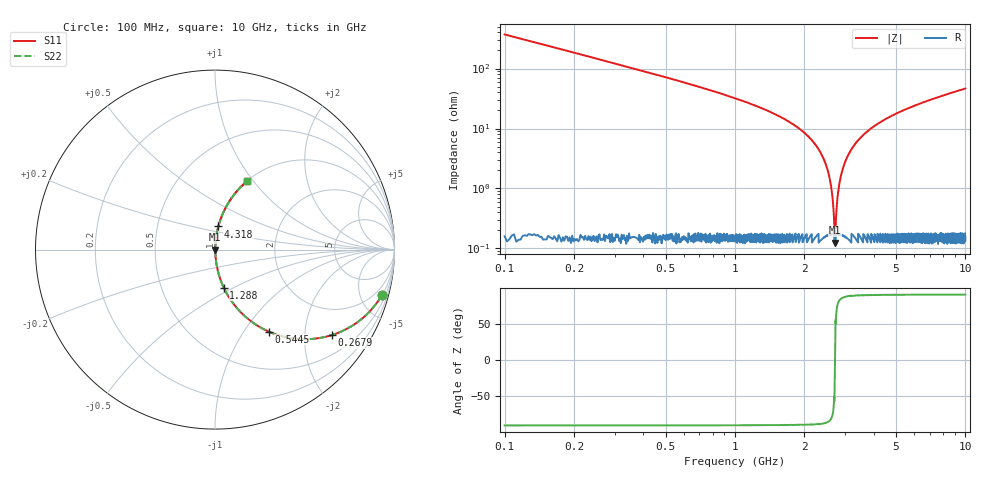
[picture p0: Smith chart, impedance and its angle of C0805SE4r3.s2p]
! AVX Thin Film Operation		Date: April 2012
! Description: Accu-P® Series, Thin Film, SMD, RF Capacitor
! Part Number: 08051J4R3ABTTR
!	100	MHz	-	10.05	GHz
!	Serial	Measurements
#	MHZ	S	MA	R	50
!	S11	S21	S12	S22
!	dB	Phase	dB	Phase	dB	Phase	dB	Phase
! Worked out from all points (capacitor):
!   4010 points, 100 MHz to 10 GHz, reference 50 ohm
!   read as one part in series: C = 4.3 pF near 149.4 MHz
!   lowest |Z| = 125 mohm at 2.718 GHz (marker M1)
!   series resonance near 2.717 GHz, so ESL is about 800 pH
!   S11 on the Smith chart (normalised r, x): 100 MHz: 1.01, -7.39; 267.9 MHz: 1.00, -2.74; 544.5 MHz: 1.00, -1.31; 1.288 GHz: 1.00, -0.45; 4.318 GHz: 1.00, +0.26; 10 GHz: 1.00, +0.93
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100  0.965 -15.1  0.261 74.8  0.261 74.8  0.965 -15.1
267.922  0.807 -36.1  0.59 53.8  0.59 53.8  0.807 -36.1
544.5  0.546 -56.8  0.837 33.1  0.837 33.1  0.546 -56.8
843.303  0.368 -68.2  0.928 21.6  0.928 21.6  0.368 -68.2
1287.802  0.217 -77.1  0.975 12.5  0.975 12.5  0.217 -77.1
1752.058  0.122 -82.3  0.991 7.0  0.991 7.0  0.122 -82.3
2166.924  0.062 -85.1  0.997 3.6  0.997 3.6  0.062 -85.1
2441.033  0.029 -85.4  0.998 1.7  0.998 1.7  0.029 -85.4
2591.669  0.013 -82.6  0.998 0.7  0.998 0.7  0.013 -82.6
2638.588  0.00808 -78.9  0.998 0.5  0.998 0.5  0.00808 -78.9
2685.508  0.00348 -64.4  0.998 0.2  0.998 0.2  0.00348 -64.4
2717.61  0.0015 3.4  0.999 -0.0  0.999 -0.0  0.0015 3.4
2747.244  0.00339 63.6  0.998 -0.2  0.998 -0.2  0.00339 63.6
2828.735  0.011 81.6  0.998 -0.6  0.998 -0.6  0.011 81.6
2937.391  0.021 84.8  0.998 -1.2  0.998 -1.2  0.021 84.8
3132.477  0.039 85.6  0.998 -2.2  0.998 -2.2  0.039 85.6
3401.646  0.062 85.1  0.997 -3.5  0.997 -3.5  0.062 85.1
4317.81  0.13 81.9  0.99 -7.4  0.99 -7.4  0.13 81.9
5051.235  0.177 79.3  0.983 -10.2  0.983 -10.2  0.177 79.3
6700.823  0.27 74.0  0.961 -15.7  0.961 -15.7  0.27 74.0
8350.412  0.35 69.3  0.935 -20.5  0.935 -20.5  0.35 69.3
10000  0.421 64.9  0.906 -24.9  0.906 -24.9  0.421 64.9
